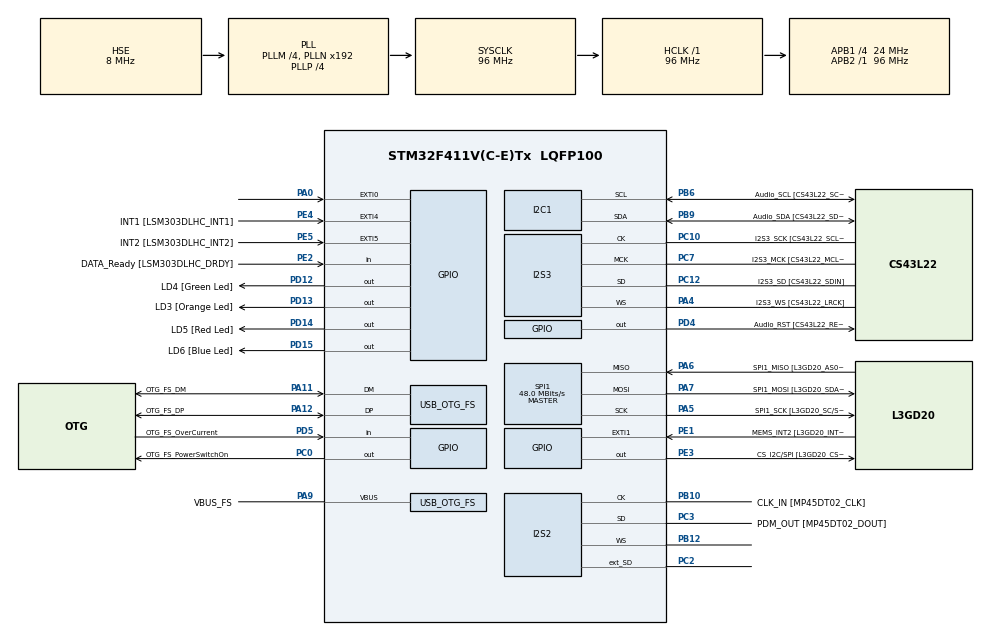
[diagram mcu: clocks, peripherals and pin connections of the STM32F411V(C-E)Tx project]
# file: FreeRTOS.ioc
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I2S2.AudioFreq=I2S_AUDIOFREQ_96K
I2S2.ErrorAudioFreq=0.15 %
I2S2.FullDuplexMode=I2S_FULLDUPLEXMODE_ENABLE
I2S2.Instance=SPI$Index
I2S2.RealAudioFreq=96.153 KHz
I2S2.VirtualMode=I2S_MODE_MASTER
I2S3.AudioFreq=I2S_AUDIOFREQ_96K
I2S3.ErrorAudioFreq=-6.99 %
I2S3.FullDuplexMode=I2S_FULLDUPLEXMODE_DISABLE
I2S3.Instance=SPI$Index
I2S3.RealAudioFreq=89.285 KHz
I2S3.VirtualMode=I2S_MODE_MASTER
Mcu.Family=STM32F4
Mcu.Name=STM32F411V(C-E)Tx
Mcu.Package=LQFP100
NVIC.OTG_FS_IRQn=true\:0\:0\:false\:false\:true\:true\:true\:true
NVIC.PriorityGroup=NVIC_PRIORITYGROUP_4
NVIC.TIM5_IRQn=true\:0\:0\:false\:false\:true\:false\:true\:true
NVIC.TimeBase=TIM5_IRQn
NVIC.TimeBaseIP=TIM5
PA0-WKUP.GPIO_ModeDefaultEXTI=GPIO_MODE_EVT_RISING
PA0-WKUP.Signal=GPXTI0
PA10.GPIO_Label=OTG_FS_ID
PA10.Signal=USB_OTG_FS_ID
PA11.GPIO_Label=OTG_FS_DM
PA11.Mode=Host_Only
PA11.Signal=USB_OTG_FS_DM
PA12.GPIO_Label=OTG_FS_DP
PA12.Mode=Host_Only
PA12.Signal=USB_OTG_FS_DP
PA13.GPIO_Label=SWDIO
PA13.Mode=Serial_Wire
PA13.Signal=SYS_JTMS-SWDIO
PA14.GPIO_Label=SWCLK
PA14.Mode=Serial_Wire
PA14.Signal=SYS_JTCK-SWCLK
PA4.GPIO_Label=I2S3_WS [CS43L22_LRCK]
PA4.GPIO_Mode=GPIO_MODE_AF_PP
PA4.GPIO_PuPd=GPIO_NOPULL
PA4.GPIO_Speed=GPIO_SPEED_FREQ_LOW
PA4.Mode=Half_Duplex_Master
PA4.Signal=I2S3_WS
PA5.GPIO_Label=SPI1_SCK [L3GD20_SC/SPC]
PA5.Mode=Full_Duplex_Master
PA5.Signal=SPI1_SCK
PA6.GPIO_Label=SPI1_MISO [L3GD20_AS0/SDO]
PA6.Mode=Full_Duplex_Master
PA6.Signal=SPI1_MISO
PA7.GPIO_Label=SPI1_MOSI [L3GD20_SDA/SDI/SDO]
PA7.Mode=Full_Duplex_Master
PA7.Signal=SPI1_MOSI
PA9.GPIO_Label=VBUS_FS
PA9.Mode=Activate_VBUS
PA9.Signal=USB_OTG_FS_VBUS
PB10.GPIO_Label=CLK_IN [MP45DT02_CLK]
PB10.Mode=Full_Duplex_Master
PB10.Signal=I2S2_CK
PB12.Mode=Full_Duplex_Master
PB12.Signal=I2S2_WS
PB3.GPIO_Label=SWO
PB3.Signal=SYS_JTDO-SWO
PB6.GPIO_Label=Audio_SCL [CS43L22_SCL]
PB6.GPIO_Mode=GPIO_MODE_AF_OD
PB6.GPIO_Pu=GPIO_PULLUP
PB6.GPIO_PuPd=GPIO_NOPULL
PB6.GPIO_Speed=GPIO_SPEED_FREQ_LOW
PB6.Mode=I2C
PB6.Signal=I2C1_SCL
PB9.GPIO_Label=Audio_SDA [CS43L22_SDA]
PB9.GPIO_Mode=GPIO_MODE_AF_OD
PB9.GPIO_Pu=GPIO_PULLUP
PB9.GPIO_PuPd=GPIO_NOPULL
PB9.GPIO_Speed=GPIO_SPEED_FREQ_LOW
PB9.Mode=I2C
PB9.Signal=I2C1_SDA
PC0.GPIO_Label=OTG_FS_PowerSwitchOn
PC0.PinState=GPIO_PIN_SET
PC0.Signal=GPIO_Output
PC10.GPIO_Label=I2S3_SCK [CS43L22_SCLK]
PC10.GPIO_Mode=GPIO_MODE_AF_PP
PC10.GPIO_PuPd=GPIO_NOPULL
PC10.GPIO_Speed=GPIO_SPEED_FREQ_LOW
PC10.Mode=Half_Duplex_Master
PC10.Signal=I2S3_CK
PC12.GPIO_Label=I2S3_SD [CS43L22_SDIN]
PC12.GPIO_Mode=GPIO_MODE_AF_PP
PC12.GPIO_PuPd=GPIO_NOPULL
PC12.GPIO_Speed=GPIO_SPEED_FREQ_LOW
PC12.Mode=Half_Duplex_Master
PC12.Signal=I2S3_SD
PC14-OSC32_IN.GPIO_Label=PC14-OSC32_IN
PC14-OSC32_IN.Mode=LSE-External-Oscillator
PC14-OSC32_IN.Signal=RCC_OSC32_IN
PC15-OSC32_OUT.GPIO_Label=PC15-OSC32_OUT
PC15-OSC32_OUT.Mode=LSE-External-Oscillator
PC15-OSC32_OUT.Signal=RCC_OSC32_OUT
PC2.Mode=Full_Duplex_Master
PC2.Signal=I2S2_ext_SD
PC3.GPIO_Label=PDM_OUT [MP45DT02_DOUT]
PC3.Mode=Full_Duplex_Master
PC3.Signal=I2S2_SD
PC7.GPIO_Label=I2S3_MCK [CS43L22_MCLK]
PC7.GPIO_Mode=GPIO_MODE_AF_PP
PC7.GPIO_PuPd=GPIO_NOPULL
PC7.GPIO_Speed=GPIO_SPEED_FREQ_LOW
PC7.Mode=Master_Clock_Activated
PC7.Signal=I2S3_MCK
PD12.GPIO_Label=LD4 [Green Led]
PD12.GPIO_PuPd=GPIO_NOPULL
PD12.GPIO_Speed=GPIO_SPEED_FREQ_LOW
PD12.Signal=GPIO_Output
PD13.GPIO_Label=LD3 [Orange Led]
PD13.GPIO_PuPd=GPIO_NOPULL
PD13.GPIO_Speed=GPIO_SPEED_FREQ_LOW
PD13.Signal=GPIO_Output
PD14.GPIO_Label=LD5 [Red Led]
PD14.GPIO_PuPd=GPIO_NOPULL
PD14.GPIO_Speed=GPIO_SPEED_FREQ_LOW
PD14.Signal=GPIO_Output
PD15.GPIO_Label=LD6 [Blue Led]
PD15.GPIO_PuPd=GPIO_NOPULL
PD15.GPIO_Speed=GPIO_SPEED_FREQ_LOW
PD15.Signal=GPIO_Output
PD4.GPIO_Label=Audio_RST [CS43L22_RESET]
PD4.Signal=GPIO_Output
PD5.GPIO_Label=OTG_FS_OverCurrent
PD5.Signal=GPIO_Input
PE1.GPIO_Label=MEMS_INT2 [L3GD20_INT2]
PE1.GPIO_ModeDefaultEXTI=GPIO_MODE_EVT_RISING
PE1.Signal=GPXTI1
PE2.GPIO_Label=DATA_Ready [LSM303DLHC_DRDY]
PE2.Signal=GPIO_Input
PE3.GPIO_Label=CS_I2C/SPI [L3GD20_CS_I2C/SPI]
PE3.Signal=GPIO_Output
PE4.GPIO_Label=INT1 [LSM303DLHC_INT1]
PE4.GPIO_ModeDefaultEXTI=GPIO_MODE_EVT_RISING
PE4.Signal=GPXTI4
PE5.GPIO_Label=INT2 [LSM303DLHC_INT2]
PE5.GPIO_ModeDefaultEXTI=GPIO_MODE_EVT_RISING
PE5.Signal=GPXTI5
PH0\ -\ OSC_IN.GPIO_Label=PH0-OSC_IN
PH0\ -\ OSC_IN.Mode=HSE-External-Clock-Source
PH0\ -\ OSC_IN.Signal=RCC_OSC_IN
PH1\ -\ OSC_OUT.GPIO_Label=PH1-OSC_OUT
PH1\ -\ OSC_OUT.Mode=HSE-External-Clock-Source
PH1\ -\ OSC_OUT.Signal=RCC_OSC_OUT
ProjectManager.HeapSize=0x200
ProjectManager.StackSize=0x400
ProjectManager.TargetToolchain=STM32CubeIDE
RCC.48MHZClocksFreq_Value=48000000
RCC.AHBFreq_Value=96000000
RCC.APB1CLKDivider=RCC_HCLK_DIV4
RCC.APB1Freq_Value=24000000
RCC.APB1TimFreq_Value=48000000
RCC.APB2Freq_Value=96000000
RCC.APB2TimFreq_Value=96000000
RCC.CortexFreq_Value=96000000
RCC.HCLKFreq_Value=96000000
RCC.HSE_VALUE=8000000
RCC.HSI_VALUE=16000000
RCC.PLLI2SM=5
RCC.PLLI2SN=200
RCC.PLLM=4
RCC.PLLP=RCC_PLLP_DIV4
RCC.PLLQ=8
RCC.SYSCLKFreq_VALUE=96000000
RCC.SYSCLKSource=RCC_SYSCLKSOURCE_PLLCLK
RCC.VCOOutputFreq_Value=384000000
SPI1.BaudRatePrescaler=SPI_BAUDRATEPRESCALER_2
SPI1.CalculateBaudRate=48.0 MBits/s
SPI1.Direction=SPI_DIRECTION_2LINES
SPI1.Mode=SPI_MODE_MASTER
SPI1.VirtualType=VM_MASTER
USB_HOST.BSP.number=1
USB_HOST.USBH_HandleTypeDef=hUsbHostFS
USB_HOST.VirtualModeFS=Cdc
USB_HOST0.BSP.STBoard=false
USB_HOST0.BSP.api=Unknown
USB_HOST0.BSP.instance=PC0
USB_HOST0.BSP.ip=GPIO
USB_HOST0.BSP.mode=Output
USB_HOST0.BSP.name=Drive_VBUS_FS
USB_HOST0.BSP.solution=PC0
USB_OTG_FS.VirtualMode=Host_Only
USB_OTG_FS.phy_itface=HCD_PHY_EMBEDDED
VP_SYS_VS_tim5.Mode=TIM5
VP_USB_HOST_VS_USB_HOST_CDC_FS.Mode=CDC_FS
board=STM32F411E-DISCO

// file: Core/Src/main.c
/* USER CODE BEGIN Header */
/**
  ******************************************************************************
  * @file           : main.c
  * @brief          : Main program body
  ******************************************************************************
  * @attention
  *
  * Copyright (c) 2024 STMicroelectronics.
  * All rights reserved.
  *
  * This software is licensed under terms that can be found in the LICENSE file
  * in the root directory of this software component.
  * If no LICENSE file comes with this software, it is provided AS-IS.
  *
  ******************************************************************************
  */
/* USER CODE END Header */
#include "main.h"
#include "usb_host.h"

/* USER CODE BEGIN Includes */
#include "FreeRTOS.h"
#include "task.h"
/* USER CODE END Includes */

I2C_HandleTypeDef hi2c1;

I2S_HandleTypeDef hi2s2;
I2S_HandleTypeDef hi2s3;

SPI_HandleTypeDef hspi1;

void SystemClock_Config(void);
void PeriphCommonClock_Config(void);
static void MX_GPIO_Init(void);
static void MX_I2C1_Init(void);
static void MX_I2S2_Init(void);
static void MX_I2S3_Init(void);
static void MX_SPI1_Init(void);
void MX_USB_HOST_Process(void);

/* USER CODE BEGIN PFP */
void vTask1(void *pvParameters){
	for(;;){
		HAL_GPIO_TogglePin(GPIOD, GPIO_PIN_12);  // Toggle an LED
		vTaskDelay(500 / portTICK_PERIOD_MS);  // Delay for 500ms
	}
}

void vTask2(void *pvParameters){
	for(;;){
		HAL_GPIO_TogglePin(GPIOD, GPIO_PIN_13);  // Toggle an LED
		vTaskDelay(1000 / portTICK_PERIOD_MS);  // Delay for 500ms
	}
}
/* USER CODE END PFP */

int main(void)
{

  /* MCU Configuration--------------------------------------------------------*/

  /* Reset of all peripherals, Initializes the Flash interface and the Systick. */
  HAL_Init();

  /* Configure the system clock */
  SystemClock_Config();

  /* Configure the peripherals common clocks */
  PeriphCommonClock_Config();

  /* Initialize all configured peripherals */
  MX_GPIO_Init();
  MX_I2C1_Init();
  MX_I2S2_Init();
  MX_I2S3_Init();
  MX_SPI1_Init();
  MX_USB_HOST_Init();
  /* USER CODE BEGIN 2 */
  xTaskCreate(
   		  vTask1,       /* Function that implements the task. */
   		  "vTask1",          /* Text name for the task. */
   		  128,      /* Stack size in words, not bytes. */
   		  NULL,    /* Parameter passed into the task. */
   		  1,/* Priority at which the task is created. */
   		  NULL);      /* Used to pass out the created task's handle. */
 xTaskCreate(
		  vTask2,       /* Function that implements the task. */
		  "vTask2",          /* Text name for the task. */
		  128,      /* Stack size in words, not bytes. */
		  NULL,    /* Parameter passed into the task. */
		  2,/* Priority at which the task is created. */
		  NULL);      /* Used to pass out the created task's handle. */
 vTaskStartScheduler();
  /* USER CODE END 2 */

  /* Infinite loop */
  while (1)
  {
    MX_USB_HOST_Process();

  }
}

void SystemClock_Config(void)
{
  RCC_OscInitTypeDef RCC_OscInitStruct = {0};
  RCC_ClkInitTypeDef RCC_ClkInitStruct = {0};

  /** Configure the main internal regulator output voltage
  */
  __HAL_RCC_PWR_CLK_ENABLE();
  __HAL_PWR_VOLTAGESCALING_CONFIG(PWR_REGULATOR_VOLTAGE_SCALE1);

  /** Initializes the RCC Oscillators according to the specified parameters
  * in the RCC_OscInitTypeDef structure.
  */
  RCC_OscInitStruct.OscillatorType = RCC_OSCILLATORTYPE_HSE;
  RCC_OscInitStruct.HSEState = RCC_HSE_BYPASS;
  RCC_OscInitStruct.PLL.PLLState = RCC_PLL_ON;
  RCC_OscInitStruct.PLL.PLLSource = RCC_PLLSOURCE_HSE;
  RCC_OscInitStruct.PLL.PLLM = 4;
  RCC_OscInitStruct.PLL.PLLN = 192;
  RCC_OscInitStruct.PLL.PLLP = RCC_PLLP_DIV4;
  RCC_OscInitStruct.PLL.PLLQ = 8;
  if (HAL_RCC_OscConfig(&RCC_OscInitStruct) != HAL_OK)
  {
    Error_Handler();
  }

  /** Initializes the CPU, AHB and APB buses clocks
  */
  RCC_ClkInitStruct.ClockType = RCC_CLOCKTYPE_HCLK|RCC_CLOCKTYPE_SYSCLK
                              |RCC_CLOCKTYPE_PCLK1|RCC_CLOCKTYPE_PCLK2;
  RCC_ClkInitStruct.SYSCLKSource = RCC_SYSCLKSOURCE_PLLCLK;
  RCC_ClkInitStruct.AHBCLKDivider = RCC_SYSCLK_DIV1;
  RCC_ClkInitStruct.APB1CLKDivider = RCC_HCLK_DIV4;
  RCC_ClkInitStruct.APB2CLKDivider = RCC_HCLK_DIV1;

  if (HAL_RCC_ClockConfig(&RCC_ClkInitStruct, FLASH_LATENCY_3) != HAL_OK)
  {
    Error_Handler();
  }
}

void PeriphCommonClock_Config(void)
{
  RCC_PeriphCLKInitTypeDef PeriphClkInitStruct = {0};

  /** Initializes the peripherals clock
  */
  PeriphClkInitStruct.PeriphClockSelection = RCC_PERIPHCLK_I2S;
  PeriphClkInitStruct.PLLI2S.PLLI2SN = 200;
  PeriphClkInitStruct.PLLI2S.PLLI2SM = 5;
  PeriphClkInitStruct.PLLI2S.PLLI2SR = 2;
  if (HAL_RCCEx_PeriphCLKConfig(&PeriphClkInitStruct) != HAL_OK)
  {
    Error_Handler();
  }
}

static void MX_I2C1_Init(void)
{

  hi2c1.Instance = I2C1;
  hi2c1.Init.ClockSpeed = 100000;
  hi2c1.Init.DutyCycle = I2C_DUTYCYCLE_2;
  hi2c1.Init.OwnAddress1 = 0;
  hi2c1.Init.AddressingMode = I2C_ADDRESSINGMODE_7BIT;
  hi2c1.Init.DualAddressMode = I2C_DUALADDRESS_DISABLE;
  hi2c1.Init.OwnAddress2 = 0;
  hi2c1.Init.GeneralCallMode = I2C_GENERALCALL_DISABLE;
  hi2c1.Init.NoStretchMode = I2C_NOSTRETCH_DISABLE;
  if (HAL_I2C_Init(&hi2c1) != HAL_OK)
  {
    Error_Handler();
  }

}

static void MX_I2S2_Init(void)
{

  hi2s2.Instance = SPI2;
  hi2s2.Init.Mode = I2S_MODE_MASTER_TX;
  hi2s2.Init.Standard = I2S_STANDARD_PHILIPS;
  hi2s2.Init.DataFormat = I2S_DATAFORMAT_16B;
  hi2s2.Init.MCLKOutput = I2S_MCLKOUTPUT_DISABLE;
  hi2s2.Init.AudioFreq = I2S_AUDIOFREQ_96K;
  hi2s2.Init.CPOL = I2S_CPOL_LOW;
  hi2s2.Init.ClockSource = I2S_CLOCK_PLL;
  hi2s2.Init.FullDuplexMode = I2S_FULLDUPLEXMODE_ENABLE;
  if (HAL_I2S_Init(&hi2s2) != HAL_OK)
  {
    Error_Handler();
  }

}

static void MX_I2S3_Init(void)
{

  hi2s3.Instance = SPI3;
  hi2s3.Init.Mode = I2S_MODE_MASTER_TX;
  hi2s3.Init.Standard = I2S_STANDARD_PHILIPS;
  hi2s3.Init.DataFormat = I2S_DATAFORMAT_16B;
  hi2s3.Init.MCLKOutput = I2S_MCLKOUTPUT_ENABLE;
  hi2s3.Init.AudioFreq = I2S_AUDIOFREQ_96K;
  hi2s3.Init.CPOL = I2S_CPOL_LOW;
  hi2s3.Init.ClockSource = I2S_CLOCK_PLL;
  hi2s3.Init.FullDuplexMode = I2S_FULLDUPLEXMODE_DISABLE;
  if (HAL_I2S_Init(&hi2s3) != HAL_OK)
  {
    Error_Handler();
  }

}

static void MX_SPI1_Init(void)
{

  /* SPI1 parameter configuration*/
  hspi1.Instance = SPI1;
  hspi1.Init.Mode = SPI_MODE_MASTER;
  hspi1.Init.Direction = SPI_DIRECTION_2LINES;
  hspi1.Init.DataSize = SPI_DATASIZE_8BIT;
  hspi1.Init.CLKPolarity = SPI_POLARITY_LOW;
  hspi1.Init.CLKPhase = SPI_PHASE_1EDGE;
  hspi1.Init.NSS = SPI_NSS_SOFT;
  hspi1.Init.BaudRatePrescaler = SPI_BAUDRATEPRESCALER_2;
  hspi1.Init.FirstBit = SPI_FIRSTBIT_MSB;
  hspi1.Init.TIMode = SPI_TIMODE_DISABLE;
  hspi1.Init.CRCCalculation = SPI_CRCCALCULATION_DISABLE;
  hspi1.Init.CRCPolynomial = 10;
  if (HAL_SPI_Init(&hspi1) != HAL_OK)
  {
    Error_Handler();
  }

}

static void MX_GPIO_Init(void)
{
  GPIO_InitTypeDef GPIO_InitStruct = {0};

  /* GPIO Ports Clock Enable */
  __HAL_RCC_GPIOE_CLK_ENABLE();
  __HAL_RCC_GPIOC_CLK_ENABLE();
  __HAL_RCC_GPIOH_CLK_ENABLE();
  __HAL_RCC_GPIOA_CLK_ENABLE();
  __HAL_RCC_GPIOB_CLK_ENABLE();
  __HAL_RCC_GPIOD_CLK_ENABLE();

  /*Configure GPIO pin Output Level */
  HAL_GPIO_WritePin(CS_I2C_SPI_GPIO_Port, CS_I2C_SPI_Pin, GPIO_PIN_RESET);

  /*Configure GPIO pin Output Level */
  HAL_GPIO_WritePin(OTG_FS_PowerSwitchOn_GPIO_Port, OTG_FS_PowerSwitchOn_Pin, GPIO_PIN_SET);

  /*Configure GPIO pin Output Level */
  HAL_GPIO_WritePin(GPIOD, LD4_Pin|LD3_Pin|LD5_Pin|LD6_Pin
                          |Audio_RST_Pin, GPIO_PIN_RESET);

  /*Configure GPIO pin : DATA_Ready_Pin */
  GPIO_InitStruct.Pin = DATA_Ready_Pin;
  GPIO_InitStruct.Mode = GPIO_MODE_INPUT;
  GPIO_InitStruct.Pull = GPIO_NOPULL;
  HAL_GPIO_Init(DATA_Ready_GPIO_Port, &GPIO_InitStruct);

  /*Configure GPIO pin : CS_I2C_SPI_Pin */
  GPIO_InitStruct.Pin = CS_I2C_SPI_Pin;
  GPIO_InitStruct.Mode = GPIO_MODE_OUTPUT_PP;
  GPIO_InitStruct.Pull = GPIO_NOPULL;
  GPIO_InitStruct.Speed = GPIO_SPEED_FREQ_LOW;
  HAL_GPIO_Init(CS_I2C_SPI_GPIO_Port, &GPIO_InitStruct);

  /*Configure GPIO pins : INT1_Pin INT2_Pin MEMS_INT2_Pin */
  GPIO_InitStruct.Pin = INT1_Pin|INT2_Pin|MEMS_INT2_Pin;
  GPIO_InitStruct.Mode = GPIO_MODE_EVT_RISING;
  GPIO_InitStruct.Pull = GPIO_NOPULL;
  HAL_GPIO_Init(GPIOE, &GPIO_InitStruct);

  /*Configure GPIO pin : OTG_FS_PowerSwitchOn_Pin */
  GPIO_InitStruct.Pin = OTG_FS_PowerSwitchOn_Pin;
  GPIO_InitStruct.Mode = GPIO_MODE_OUTPUT_PP;
  GPIO_InitStruct.Pull = GPIO_NOPULL;
  GPIO_InitStruct.Speed = GPIO_SPEED_FREQ_LOW;
  HAL_GPIO_Init(OTG_FS_PowerSwitchOn_GPIO_Port, &GPIO_InitStruct);

  /*Configure GPIO pin : PA0 */
  GPIO_InitStruct.Pin = GPIO_PIN_0;
  GPIO_InitStruct.Mode = GPIO_MODE_EVT_RISING;
  GPIO_InitStruct.Pull = GPIO_NOPULL;
  HAL_GPIO_Init(GPIOA, &GPIO_InitStruct);

  /*Configure GPIO pins : LD4_Pin LD3_Pin LD5_Pin LD6_Pin
                           Audio_RST_Pin */
  GPIO_InitStruct.Pin = LD4_Pin|LD3_Pin|LD5_Pin|LD6_Pin
                          |Audio_RST_Pin;
  GPIO_InitStruct.Mode = GPIO_MODE_OUTPUT_PP;
  GPIO_InitStruct.Pull = GPIO_NOPULL;
  GPIO_InitStruct.Speed = GPIO_SPEED_FREQ_LOW;
  HAL_GPIO_Init(GPIOD, &GPIO_InitStruct);

  /*Configure GPIO pin : OTG_FS_OverCurrent_Pin */
  GPIO_InitStruct.Pin = OTG_FS_OverCurrent_Pin;
  GPIO_InitStruct.Mode = GPIO_MODE_INPUT;
  GPIO_InitStruct.Pull = GPIO_NOPULL;
  HAL_GPIO_Init(OTG_FS_OverCurrent_GPIO_Port, &GPIO_InitStruct);

}

void HAL_TIM_PeriodElapsedCallback(TIM_HandleTypeDef *htim)
{
  if (htim->Instance == TIM5) {
    HAL_IncTick();
  }
}

void Error_Handler(void)
{
  __disable_irq();
  while (1)
  {
  }
}
